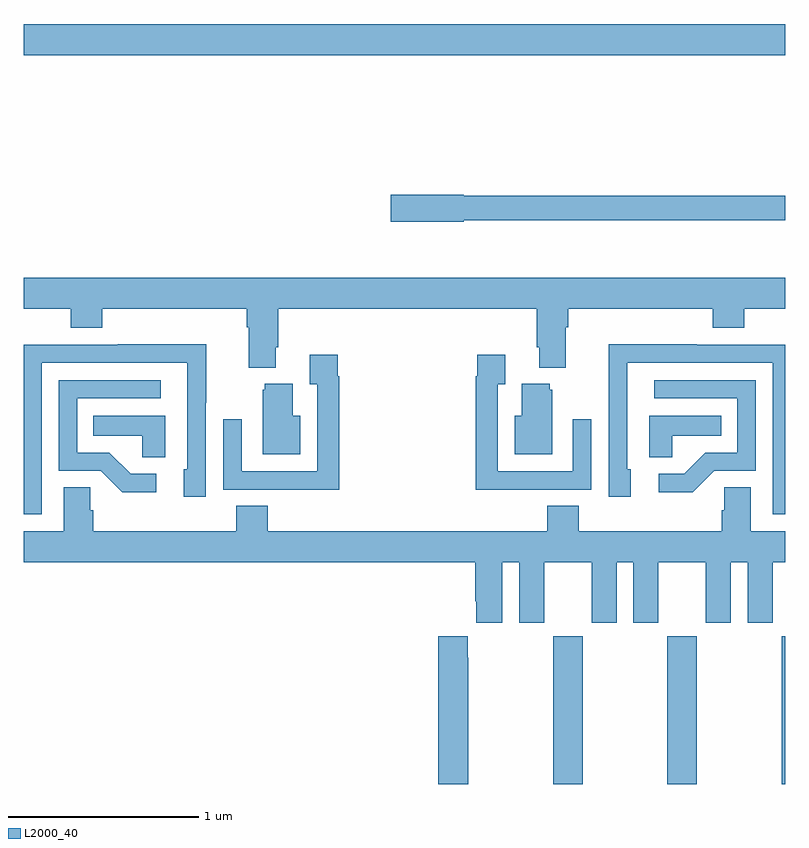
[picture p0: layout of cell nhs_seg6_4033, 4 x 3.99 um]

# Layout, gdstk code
import gdstk
lib = gdstk.Library(unit=1e-6, precision=1e-09)
def R(c, l, rs):  # rectangles x0, y0, x1, y1
    for r in rs: c.add(gdstk.rectangle(r[:2], r[2:], *l))
def P(c, l, *ps):  # polygons
    for p in ps: c.add(gdstk.Polygon(p, *l))
L2000_40 = (2000, 40)

nhs_seg6_4033 = lib.new_cell('nhs_seg6_4033')
R(nhs_seg6_4033, L2000_40, [(351.781,951.5,351.936,952.276), (352.381,951.5,352.536,952.276), (352.981,951.5,353,952.276), (349,955.328,353,955.492)])
P(nhs_seg6_4033, L2000_40, [(351.312,954.462),(353,954.462),(353,954.59),(351.312,954.59),(351.312,954.596),(350.928,954.596),(350.928,954.454),(351.312,954.454)],
  [(350.323,953.794),(350.336,953.794),(350.336,953.996),(351.695,953.996),(351.695,953.794),(351.707,953.794),(351.707,953.687),(351.847,953.687),(351.847,953.9),(351.86,953.9),(351.86,953.996),(352.619,953.996),(352.619,953.897),(352.784,953.897),(352.784,953.996),(353,953.996),(353,954.16),(349,954.16),(349,953.996),(349.247,953.996),(349.247,953.897),(349.412,953.897),(349.412,953.996),(350.171,953.996),(350.171,953.9),(350.183,953.9),(350.183,953.687),(350.323,953.687)],
  [(349.095,953.712),(349.86,953.712),(349.86,953.154),(349.841,953.154),(349.841,953.01),(349.956,953.01),(349.956,953.503),(349.959,953.503),(349.959,953.81),(349.495,953.81),(349.495,953.808),(349,953.808),(349,952.917),(349.095,952.917)],
  [(353,953.808),(352.535,953.808),(352.535,953.81),(352.072,953.81),(352.072,953.503),(352.074,953.503),(352.074,953.01),(352.189,953.01),(352.189,953.154),(352.17,953.154),(352.17,953.712),(352.935,953.712),(352.935,952.917),(353,952.917)],
  [(350.657,953.642),(350.65,953.642),(350.65,953.755),(350.501,953.755),(350.501,953.599),(350.541,953.599),(350.541,953.142),(350.145,953.142),(350.145,953.416),(350.049,953.416),(350.049,953.046),(350.365,953.046),(350.365,953.045),(350.657,953.045)],
  [(351.665,953.046),(351.981,953.046),(351.981,953.416),(351.885,953.416),(351.885,953.142),(351.489,953.142),(351.489,953.599),(351.529,953.599),(351.529,953.755),(351.381,953.755),(351.381,953.642),(351.373,953.642),(351.373,953.045),(351.665,953.045)],
  [(349.696,953.13),(349.561,953.13),(349.45,953.241),(349.281,953.241),(349.281,953.526),(349.72,953.526),(349.72,953.622),(349.185,953.622),(349.185,953.145),(349.404,953.145),(349.517,953.033),(349.696,953.033)],
  [(352.626,953.145),(352.845,953.145),(352.845,953.622),(352.311,953.622),(352.311,953.526),(352.749,953.526),(352.749,953.241),(352.58,953.241),(352.469,953.13),(352.335,953.13),(352.335,953.033),(352.513,953.033)],
  [(351.775,953.571),(351.764,953.571),(351.764,953.602),(351.617,953.602),(351.617,953.434),(351.578,953.434),(351.578,953.231),(351.775,953.231)],
  [(350.452,953.434),(350.413,953.434),(350.413,953.602),(350.267,953.602),(350.267,953.571),(350.255,953.571),(350.255,953.231),(350.452,953.231)],
  [(349.744,953.434),(349.366,953.434),(349.366,953.33),(349.623,953.33),(349.623,953.215),(349.744,953.215)],
  [(352.407,953.33),(352.664,953.33),(352.664,953.434),(352.286,953.434),(352.286,953.215),(352.407,953.215)],
  [(351.514,952.664),(351.602,952.664),(351.602,952.347),(351.733,952.347),(351.733,952.664),(351.983,952.664),(351.983,952.347),(352.114,952.347),(352.114,952.664),(352.202,952.664),(352.202,952.347),(352.333,952.347),(352.333,952.664),(352.583,952.664),(352.583,952.347),(352.714,952.347),(352.714,952.664),(352.802,952.664),(352.802,952.347),(352.933,952.347),(352.933,952.664),(353,952.664),(353,952.828),(352.819,952.828),(352.819,953.06),(352.68,953.06),(352.68,952.937),(352.667,952.937),(352.667,952.828),(351.914,952.828),(351.914,952.961),(351.749,952.961),(351.749,952.828),(350.282,952.828),(350.282,952.961),(350.117,952.961),(350.117,952.828),(349.364,952.828),(349.364,952.937),(349.35,952.937),(349.35,953.06),(349.211,953.06),(349.211,952.828),(349,952.828),(349,952.664),(351.371,952.664),(351.371,952.459),(351.377,952.459),(351.377,952.347),(351.514,952.347)],
  [(351.336,952.163),(351.331,952.163),(351.331,952.276),(351.176,952.276),(351.176,951.5),(351.336,951.5)])

lib.write_gds('nhs_seg6_4033.gds')
